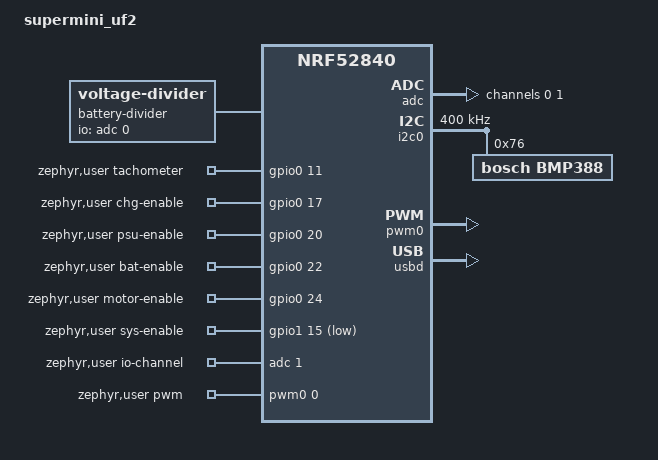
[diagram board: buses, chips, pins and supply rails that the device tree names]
// Copyright (c) 2024 Nordic Semiconductor ASA
// SPDX-License-Identifier: Apache-2.0

/dts-v1/;
#include <nordic/nrf52840_qiaa.dtsi>
#include "supermini_uf2-pinctrl.dtsi"

/ {
	model = "supermini_uf2";
	compatible = "supermini_uf2";

	chosen {
		zephyr,sram = &sram0;
		zephyr,flash = &flash0;
		zephyr,console = &cdc_acm_uart0;
		zephyr,shell-uart = &cdc_acm_uart0;
	};

	battery-divider {
		compatible = "voltage-divider";
		status = "okay";
		io-channels = <&adc 0>;
		output-ohms = <220000>;
		full-ohms = <2420000>;
	};

	zephyr,user {
		io-channels = <&adc 1>;
		pwms = <&pwm0 0 PWM_KHZ(5) PWM_POLARITY_NORMAL>;
		tachometer-gpios = <&gpio0 11 GPIO_PULL_UP>;
		chg-enable-gpios = <&gpio0 17 GPIO_OPEN_SOURCE>;
		psu-enable-gpios = <&gpio0 20 GPIO_OPEN_SOURCE>;
		bat-enable-gpios = <&gpio0 22 GPIO_OPEN_SOURCE>;
		motor-enable-gpios = <&gpio0 24 0>;
		sys-enable-gpios = <&gpio1 15 (GPIO_ACTIVE_LOW | GPIO_PULL_UP)>;
	};
};

&reg1 {
	regulator-initial-mode = <NRF5X_REG_MODE_DCDC>;
};

&adc {
	#address-cells = <1>;
	#size-cells = <0>;
	status = "okay";

/* maximum input voltage is 29.4V into 2.2MOhm/220kOhm divider
 * -> 2673mV at ADC input, so adc gain 1/5 for 3000mV max
 */
	channel@0 {
		reg = <0>;
		zephyr,gain = "ADC_GAIN_1_5";
		zephyr,reference = "ADC_REF_INTERNAL";
		zephyr,acquisition-time = <ADC_ACQ_TIME(ADC_ACQ_TIME_MICROSECONDS, 40)>;
		zephyr,differential;
		zephyr,input-positive = <NRF_SAADC_AIN5>;
		zephyr,input-negative = <NRF_SAADC_AIN0>;
		zephyr,resolution = <14>;
		zephyr,oversampling = <4>;
	};

// PSU
	channel@1 {
		reg = <1>;
		zephyr,gain = "ADC_GAIN_1_4";
		zephyr,reference = "ADC_REF_INTERNAL";
		zephyr,acquisition-time = <ADC_ACQ_TIME(ADC_ACQ_TIME_MICROSECONDS, 10)>;
		zephyr,differential;
		zephyr,input-positive = <NRF_SAADC_AIN7>;
		zephyr,input-negative = <NRF_SAADC_AIN0>;
		zephyr,resolution = <12>;
		zephyr,oversampling = <2>;
	};
};

&gpio0 {
	status = "okay";
};

&gpio1 {
	status = "okay";
};

&gpiote {
	status = "okay";
};

&i2c0 {
	compatible = "nordic,nrf-twim";
	status = "okay";
	clock-frequency = <I2C_BITRATE_FAST>;
	pinctrl-0 = <&i2c0_default>;
	pinctrl-1 = <&i2c0_sleep>;
	pinctrl-names = "default", "sleep";

	bmp388: bmp388@76 {
		compatible = "bosch,bmp388";
		reg = <0x76>;
		odr = "100";
		osr-press = <2>;
		osr-temp = <1>;
		iir-filter = <1>;
	};
};

&pwm0 {
	status = "okay";
	pinctrl-0 = <&pwm0_default>;
	pinctrl-1 = <&pwm0_sleep>;
	pinctrl-names = "default", "sleep";
};

zephyr_udc0: &usbd {
	compatible = "nordic,nrf-usbd";
	status = "okay";
	cdc_acm_uart0: cdc_acm_uart0 {
		compatible = "zephyr,cdc-acm-uart";
	};
};

&cryptocell {
	status = "disabled";
};

&nfct {
	status = "disabled";
};
